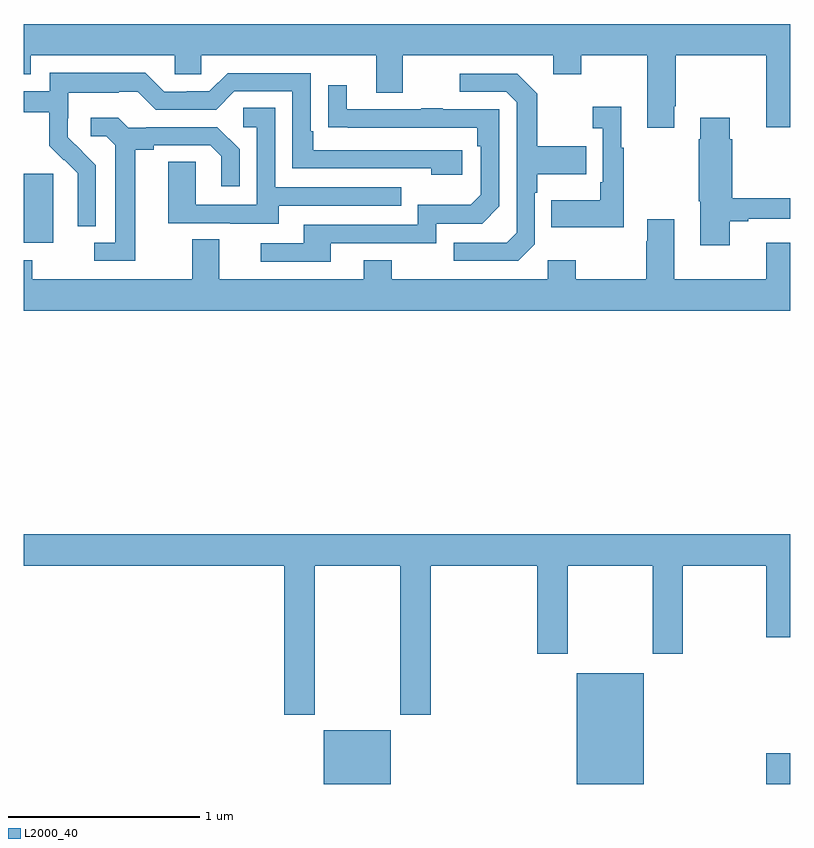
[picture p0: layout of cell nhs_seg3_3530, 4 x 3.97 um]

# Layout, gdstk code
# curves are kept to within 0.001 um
import gdstk
lib = gdstk.Library(unit=1e-6, precision=1e-09)
def R(c, l, rs):  # rectangles x0, y0, x1, y1
    for r in rs: c.add(gdstk.rectangle(r[:2], r[2:], *l))
def P(c, l, *ps):  # polygons
    for p in ps: c.add(gdstk.Polygon(p, *l))
L2000_40 = (2000, 40)

nhs_seg3_3530 = lib.new_cell('nhs_seg3_3530')
R(nhs_seg3_3530, L2000_40, [(294.566,742.4,294.916,742.681), (295.886,742.4,296.236,742.978), (296.876,742.4,297,742.561), (293,745.226,293.152,745.587)])
P(nhs_seg3_3530, L2000_40, [(296.395,745.939),(296.403,745.939),(296.403,746.204),(296.876,746.204),(296.876,745.83),(297,745.83),(297,746.368),(293,746.368),(293,746.105),(293.035,746.105),(293.035,746.204),(293.787,746.204),(293.787,746.106),(293.925,746.106),(293.925,746.204),(294.839,746.204),(294.839,746.01),(294.979,746.01),(294.979,746.204),(295.763,746.204),(295.763,746.105),(295.911,746.105),(295.911,746.204),(296.255,746.204),(296.255,745.827),(296.395,745.827)],
  [(293.376,745.63),(293.23,745.778),(293.23,745.875),(293.232,745.875),(293.232,746.009),(293.495,746.009),(293.495,746.013),(293.595,746.013),(293.688,745.92),(294.003,745.92),(294.099,746.016),(294.402,746.016),(294.402,745.614),(295.127,745.614),(295.127,745.58),(295.288,745.58),(295.288,745.71),(294.511,745.71),(294.511,745.807),(294.498,745.807),(294.498,746.112),(294.063,746.112),(293.967,746.016),(293.849,746.016),(293.849,746.013),(293.733,746.013),(293.633,746.113),(293.136,746.113),(293.136,746.016),(293,746.016),(293,745.908),(293.131,745.908),(293.131,745.733),(293.208,745.656),(293.211,745.659),(293.282,745.589),(293.282,745.466),(293.28,745.466),(293.28,745.312),(293.376,745.312)],
  [(295.668,745.218),(295.668,745.487),(295.681,745.487),(295.681,745.583),(295.937,745.583),(295.937,745.731),(295.681,745.731),(295.681,746.003),(295.575,746.109),(295.275,746.109),(295.275,746.013),(295.518,746.013),(295.572,745.959),(295.572,745.278),(295.521,745.227),(295.245,745.227),(295.245,745.131),(295.581,745.131)],
  [(294.601,745.224),(295.152,745.224),(295.152,745.326),(295.392,745.326),(295.482,745.416),(295.482,745.923),(295.187,745.923),(295.187,745.928),(295.075,745.928),(295.075,745.923),(294.685,745.923),(294.685,746.047),(294.589,746.047),(294.589,745.828),(295.366,745.827),(295.366,745.73),(295.386,745.73),(295.386,745.476),(295.333,745.423),(295.056,745.423),(295.056,745.32),(294.461,745.32),(294.461,745.224),(294.237,745.224),(294.237,745.128),(294.601,745.128)],
  [(296.131,745.723),(296.119,745.723),(296.119,745.936),(295.971,745.936),(295.971,745.823),(296.022,745.823),(296.022,745.543),(296.01,745.543),(296.01,745.447),(295.753,745.447),(295.753,745.307),(296.131,745.307)],
  [(294.331,745.419),(294.971,745.419),(294.971,745.515),(294.312,745.515),(294.312,745.931),(294.144,745.931),(294.144,745.83),(294.216,745.83),(294.216,745.425),(293.898,745.425),(293.898,745.649),(293.753,745.649),(293.753,745.329),(294.077,745.329),(294.077,745.325),(294.331,745.325)],
  [(293.581,745.712),(293.677,745.712),(293.677,745.734),(293.972,745.734),(294.029,745.677),(294.029,745.521),(294.126,745.521),(294.126,745.714),(294.01,745.83),(293.638,745.83),(293.638,745.827),(293.544,745.827),(293.492,745.879),(293.349,745.879),(293.349,745.782),(293.43,745.782),(293.477,745.735),(293.477,745.227),(293.367,745.227),(293.367,745.131),(293.581,745.131)],
  [(296.686,745.338),(296.782,745.338),(296.782,745.35),(297,745.35),(297,745.459),(296.699,745.459),(296.699,745.766),(296.686,745.766),(296.686,745.879),(296.531,745.879),(296.531,745.766),(296.524,745.766),(296.524,745.443),(296.531,745.443),(296.531,745.212),(296.686,745.212)],
  [(297,745.225),(296.876,745.225),(296.876,745.036),(296.395,745.036),(296.395,745.348),(296.255,745.348),(296.255,745.235),(296.248,745.235),(296.248,745.036),(295.881,745.036),(295.881,745.135),(295.734,745.135),(295.734,745.036),(294.921,745.036),(294.921,745.135),(294.773,745.135),(294.773,745.036),(294.019,745.036),(294.019,745.244),(293.879,745.244),(293.879,745.036),(293.043,745.036),(293.043,745.135),(293,745.135),(293,744.872),(297,744.872)],
  [(294.519,743.54),(294.964,743.54),(294.964,742.761),(295.124,742.761),(295.124,743.54),(295.679,743.54),(295.679,743.079),(295.839,743.079),(295.839,743.54),(296.284,743.54),(296.284,743.079),(296.439,743.079),(296.439,743.54),(296.876,743.54),(296.876,743.166),(297,743.166),(297,743.704),(293,743.704),(293,743.54),(294.359,743.54),(294.359,742.761),(294.519,742.761)])

lib.write_gds('nhs_seg3_3530.gds')
